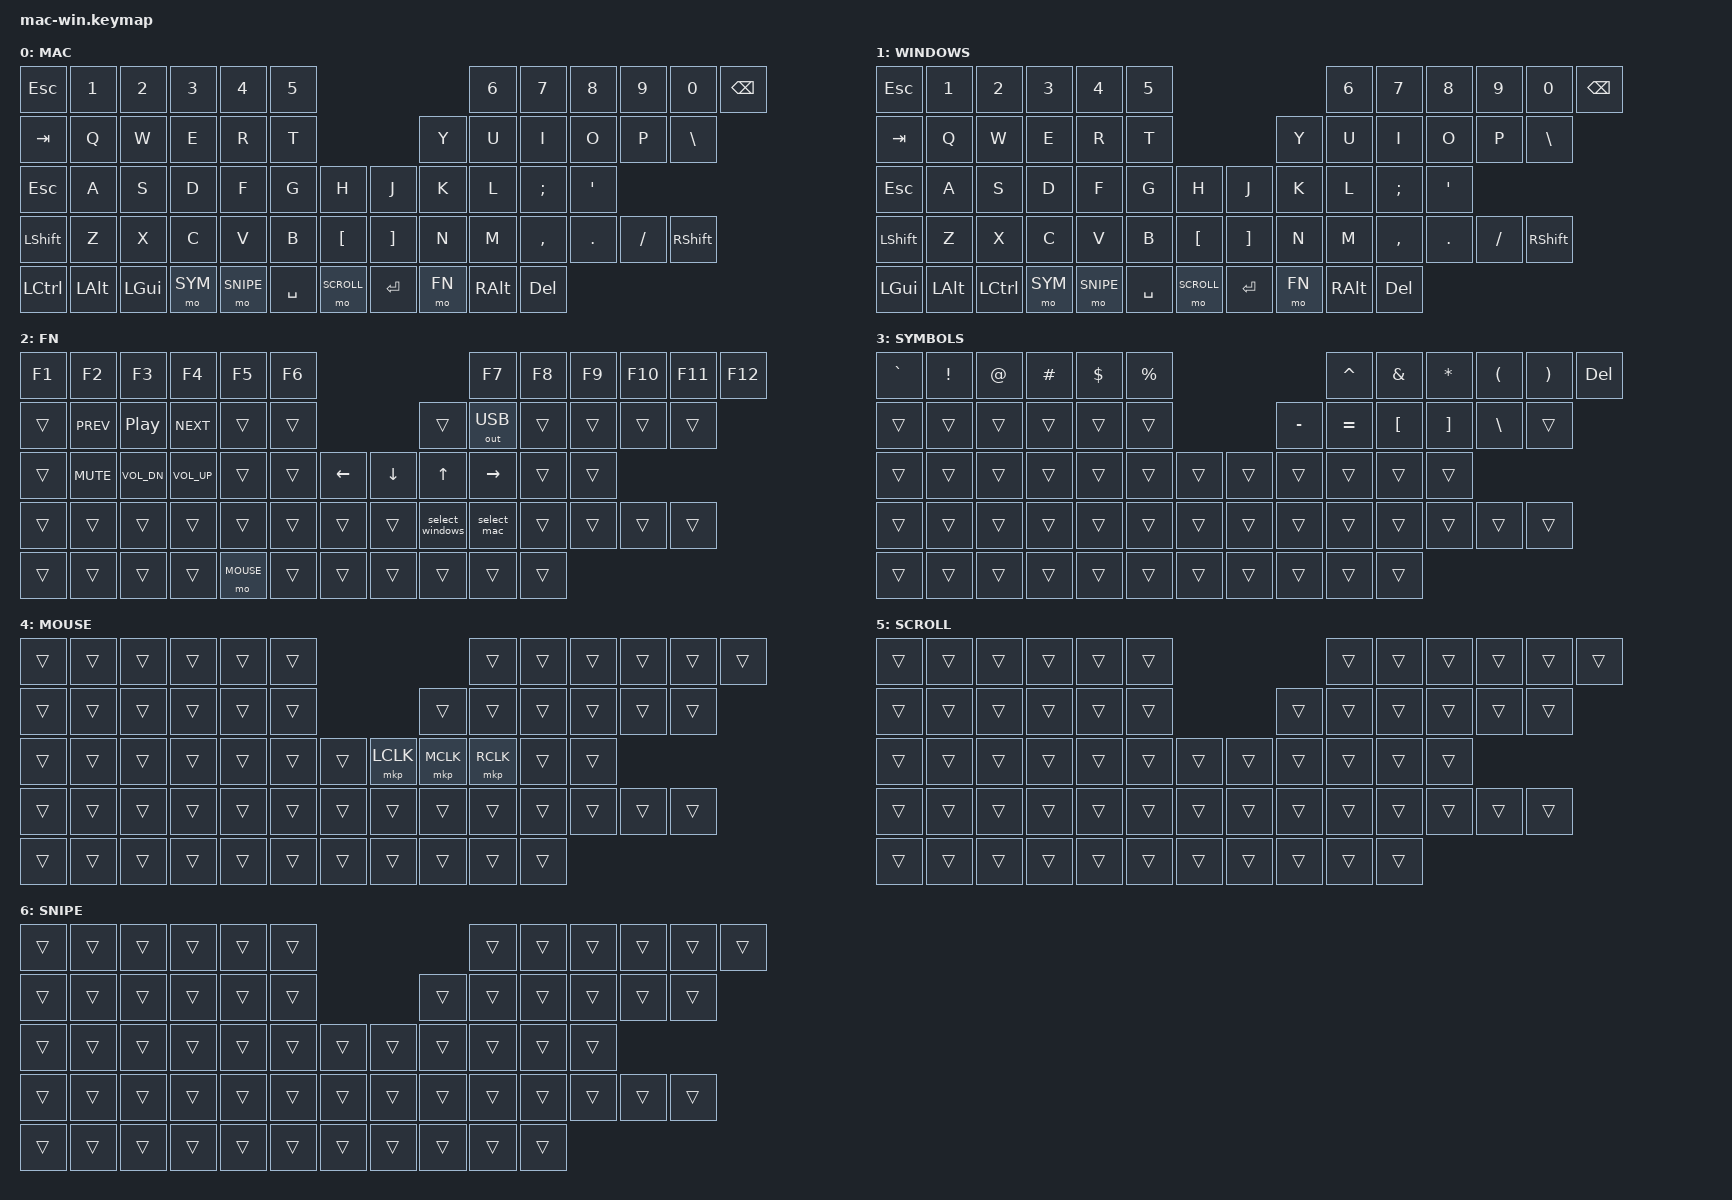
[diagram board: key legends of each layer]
// SPDX-License-Identifier: MIT
// Independently authored design candidate. NOT a hardware-ready configuration.
// Row counts: 12 / 12 / 12 / 14 / 11. Confirm the actual matrix transform.
#include <behaviors.dtsi>
#include <behaviors/mouse_keys.dtsi>
#include <dt-bindings/zmk/keys.h>
#include <dt-bindings/zmk/bt.h>
#include <dt-bindings/zmk/outputs.h>
#include <dt-bindings/zmk/mouse.h>

#define MAC 0
#define WINDOWS 1
#define FN 2
#define SYM 3
#define MOUSE 4
#define SCROLL 5
#define SNIPE 6

/ {
    macros {
        select_mac: select_mac {
            compatible = "zmk,behavior-macro";
            #binding-cells = <0>;
            wait-ms = <0>;
            tap-ms = <0>;
            bindings = <&macro_tap &bt BT_SEL 0 &out OUT_BLE &to MAC>;
        };
        select_windows: select_windows {
            compatible = "zmk,behavior-macro";
            #binding-cells = <0>;
            wait-ms = <0>;
            tap-ms = <0>;
            bindings = <&macro_tap &bt BT_SEL 1 &out OUT_BLE &to WINDOWS>;
        };
    };
    keymap {
        compatible = "zmk,keymap";
        mac_layer {
            label = "MAC";
            bindings = <
                &kp ESC  &kp N1  &kp N2  &kp N3  &kp N4  &kp N5  &kp N6  &kp N7  &kp N8  &kp N9  &kp N0  &kp BSPC
                &kp TAB  &kp Q  &kp W  &kp E  &kp R  &kp T  &kp Y  &kp U  &kp I  &kp O  &kp P  &kp BACKSLASH
                &kp ESC  &kp A  &kp S  &kp D  &kp F  &kp G  &kp H  &kp J  &kp K  &kp L  &kp SEMI  &kp SQT
                &kp LSHFT  &kp Z  &kp X  &kp C  &kp V  &kp B  &kp LBKT  &kp RBKT  &kp N  &kp M  &kp COMMA  &kp DOT  &kp FSLH  &kp RSHFT
                &kp LCTRL  &kp LALT  &kp LGUI  &mo SYM  &mo SNIPE  &kp SPACE  &mo SCROLL  &kp ENTER  &mo FN  &kp RALT  &kp DEL
            >;
        };
        windows_layer {
            label = "WINDOWS";
            bindings = <
                &kp ESC  &kp N1  &kp N2  &kp N3  &kp N4  &kp N5  &kp N6  &kp N7  &kp N8  &kp N9  &kp N0  &kp BSPC
                &kp TAB  &kp Q  &kp W  &kp E  &kp R  &kp T  &kp Y  &kp U  &kp I  &kp O  &kp P  &kp BACKSLASH
                &kp ESC  &kp A  &kp S  &kp D  &kp F  &kp G  &kp H  &kp J  &kp K  &kp L  &kp SEMI  &kp SQT
                &kp LSHFT  &kp Z  &kp X  &kp C  &kp V  &kp B  &kp LBKT  &kp RBKT  &kp N  &kp M  &kp COMMA  &kp DOT  &kp FSLH  &kp RSHFT
                &kp LGUI  &kp LALT  &kp LCTRL  &mo SYM  &mo SNIPE  &kp SPACE  &mo SCROLL  &kp ENTER  &mo FN  &kp RALT  &kp DEL
            >;
        };
        fn_layer {
            label = "FN";
            bindings = <
                &kp F1  &kp F2  &kp F3  &kp F4  &kp F5  &kp F6  &kp F7  &kp F8  &kp F9  &kp F10  &kp F11  &kp F12
                &trans  &kp C_PREV  &kp C_PP  &kp C_NEXT  &trans  &trans  &trans  &out OUT_USB  &trans  &trans  &trans  &trans
                &trans  &kp C_MUTE  &kp C_VOL_DN  &kp C_VOL_UP  &trans  &trans  &kp LEFT  &kp DOWN  &kp UP  &kp RIGHT  &trans  &trans
                &trans  &trans  &trans  &trans  &trans  &trans  &trans  &trans  &select_windows  &select_mac  &trans  &trans  &trans  &trans
                &trans  &trans  &trans  &trans  &mo MOUSE  &trans  &trans  &trans  &trans  &trans  &trans
            >;
        };
        symbols_layer {
            label = "SYMBOLS";
            bindings = <
                &kp GRAVE  &kp EXCL  &kp AT  &kp HASH  &kp DLLR  &kp PRCNT  &kp CARET  &kp AMPS  &kp STAR  &kp LPAR  &kp RPAR  &kp DEL
                &trans  &trans  &trans  &trans  &trans  &trans  &kp MINUS  &kp EQUAL  &kp LBKT  &kp RBKT  &kp BACKSLASH  &trans
                &trans  &trans  &trans  &trans  &trans  &trans  &trans  &trans  &trans  &trans  &trans  &trans
                &trans  &trans  &trans  &trans  &trans  &trans  &trans  &trans  &trans  &trans  &trans  &trans  &trans  &trans
                &trans  &trans  &trans  &trans  &trans  &trans  &trans  &trans  &trans  &trans  &trans
            >;
        };
        mouse_layer {
            label = "MOUSE";
            bindings = <
                &trans  &trans  &trans  &trans  &trans  &trans  &trans  &trans  &trans  &trans  &trans  &trans
                &trans  &trans  &trans  &trans  &trans  &trans  &trans  &trans  &trans  &trans  &trans  &trans
                &trans  &trans  &trans  &trans  &trans  &trans  &trans  &mkp LCLK  &mkp MCLK  &mkp RCLK  &trans  &trans
                &trans  &trans  &trans  &trans  &trans  &trans  &trans  &trans  &trans  &trans  &trans  &trans  &trans  &trans
                &trans  &trans  &trans  &trans  &trans  &trans  &trans  &trans  &trans  &trans  &trans
            >;
        };
        scroll_layer {
            label = "SCROLL";
            bindings = <
                &trans  &trans  &trans  &trans  &trans  &trans  &trans  &trans  &trans  &trans  &trans  &trans
                &trans  &trans  &trans  &trans  &trans  &trans  &trans  &trans  &trans  &trans  &trans  &trans
                &trans  &trans  &trans  &trans  &trans  &trans  &trans  &trans  &trans  &trans  &trans  &trans
                &trans  &trans  &trans  &trans  &trans  &trans  &trans  &trans  &trans  &trans  &trans  &trans  &trans  &trans
                &trans  &trans  &trans  &trans  &trans  &trans  &trans  &trans  &trans  &trans  &trans
            >;
        };
        snipe_layer {
            label = "SNIPE";
            bindings = <
                &trans  &trans  &trans  &trans  &trans  &trans  &trans  &trans  &trans  &trans  &trans  &trans
                &trans  &trans  &trans  &trans  &trans  &trans  &trans  &trans  &trans  &trans  &trans  &trans
                &trans  &trans  &trans  &trans  &trans  &trans  &trans  &trans  &trans  &trans  &trans  &trans
                &trans  &trans  &trans  &trans  &trans  &trans  &trans  &trans  &trans  &trans  &trans  &trans  &trans  &trans
                &trans  &trans  &trans  &trans  &trans  &trans  &trans  &trans  &trans  &trans  &trans
            >;
        };
    };
};
